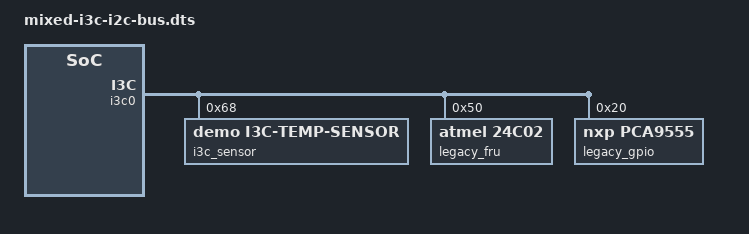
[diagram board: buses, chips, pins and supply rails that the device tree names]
/dts-v1/;
/plugin/;

#include <dt-bindings/i3c/i3c.h>

/* Verify every I2C target's LVR capabilities before adapting this fragment. */

&i3c0 {
	status = "okay";
	#address-cells = <3>;
	#size-cells = <0>;
	i3c-scl-hz = <12500000>;
	i2c-scl-hz = <400000>;

	i3c_sensor: sensor@68,24604561004 {
		compatible = "demo,i3c-temp-sensor";
		reg = <0x68 0x246 0x04561004>;
		assigned-address = <0x30>;
	};

	legacy_fru: eeprom@50 {
		compatible = "atmel,24c02";
		reg = <0x50 0x0 (I2C_FM | I2C_FILTER)>;
		pagesize = <8>;
	};

	legacy_gpio: gpio@20 {
		compatible = "nxp,pca9555";
		reg = <0x20 0x0 (I2C_FM | I2C_FILTER)>;
		gpio-controller;
		#gpio-cells = <2>;
	};
};

